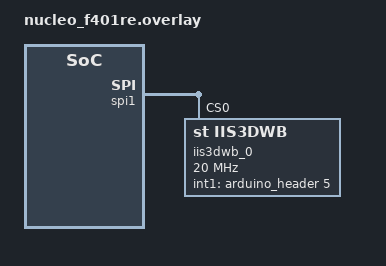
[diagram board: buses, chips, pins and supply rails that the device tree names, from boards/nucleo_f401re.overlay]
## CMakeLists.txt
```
# Copyright (c) 2022 TOKITA Hiroshi <tokita.hiroshi@fujitsu.com>
# SPDX-License-Identifier: Apache-2.0

cmake_minimum_required(VERSION 3.20.0)

find_package(Zephyr REQUIRED HINTS $ENV{ZEPHYR_BASE})
project(accel_polling)

FILE(GLOB app_sources src/*.c)
target_sources(app PRIVATE ${app_sources})
```

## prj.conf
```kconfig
CONFIG_STDOUT_CONSOLE=y
CONFIG_SENSOR=y
CONFIG_SENSOR_ASYNC_API=y
CONFIG_CBPRINTF_FP_SUPPORT=y
```

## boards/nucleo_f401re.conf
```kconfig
# Copyright (c) 2024 STMicroelectronics
# SPDX-License-Identifier: Apache-2.0

#CONFIG_I2C_RTIO=y
#CONFIG_LSM6DSV16X_STREAM=y
#CONFIG_LSM6DSV16X_ENABLE_TEMP=y
CONFIG_SPI_RTIO=y
CONFIG_IIS3DWB_STREAM=y
CONFIG_IIS3DWB_ENABLE_TEMP=y
```

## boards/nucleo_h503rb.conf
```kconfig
# Copyright (c) 2024 STMicroelectronics
# SPDX-License-Identifier: Apache-2.0

CONFIG_LOG=y
CONFIG_SENSOR_LOG_LEVEL_DBG=y

CONFIG_I2C_RTIO=y
#CONFIG_SPI_RTIO=y

CONFIG_LSM6DSVXXX_STREAM=y
CONFIG_LSM6DSVXXX_ENABLE_TEMP=y
```

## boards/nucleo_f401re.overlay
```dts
/*
 * Copyright (c) 2024 STMicroelectronics
 *
 * SPDX-License-Identifier: Apache-2.0
 */
#include <zephyr/dt-bindings/sensor/lsm6dsv16x.h>
#include <zephyr/dt-bindings/sensor/iis3dwb.h>


/*
 * Nucleo F401RE board + shield iks4a1
 *
 * This devicetree overlay file will be automatically picked by the Zephyr
 * build system when building the sample for the nucleo_f401re board.
 */

/ {
	aliases {
		//stream0 = &lsm6dsv16x_6b_x_nucleo_iks4a1;
		stream0 = &iis3dwb_0;
	};
};

&spi1 {
	iis3dwb_0: iis3dwb@0 {
		compatible = "st,iis3dwb";

		reg = <0>;
		spi-max-frequency = <DT_FREQ_M(20)>;

		range = <IIS3DWB_DT_FS_16G>;
		odr = <IIS3DWB_DT_ODR_26k7Hz>;
		filter = <IIS3DWB_DT_LP_ODR_DIV_4>;
		int1-gpios =  <&arduino_header 5 GPIO_ACTIVE_HIGH>; /* A5 (PC0) */
		drdy-pin = <1>;

		fifo-watermark = <128>;
		accel-fifo-batch-rate = <IIS3DWB_DT_XL_BATCHED_AT_26k7Hz>;
		temp-fifo-batch-rate = <IIS3DWB_DT_TEMP_NOT_BATCHED>;
		timestamp-fifo-batch-rate = <IIS3DWB_DT_TS_NOT_BATCHED>;
	};
};
```

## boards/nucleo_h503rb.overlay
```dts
/*
 * Copyright (c) 2024 STMicroelectronics
 *
 * SPDX-License-Identifier: Apache-2.0
 */
#include <zephyr/dt-bindings/sensor/lsm6dsv320x.h>


/*
 * Nucleo F401RE board + shield iks4a1
 *
 * This devicetree overlay file will be automatically picked by the Zephyr
 * build system when building the sample for the nucleo_f401re board.
 */

/ {
	aliases {
		//stream0 = &lsm6dsv320x_spi;
		stream0 = &lsm6dsv320x_iks5a1;
	};
};

&arduino_i2c {
	#if 1
	lsm6dsv320x_iks5a1: lsm6dsv320x@6a {
		compatible = "st,lsm6dsv320x";

		reg = <0x6a>;

		accel-odr = <LSM6DSVXXX_DT_ODR_AT_480Hz>;
		#accel-hg-odr = <LSM6DSV320X_HG_XL_ODR_AT_480Hz>;
		accel-range = <LSM6DSV320X_DT_FS_16G>;
		gyro-odr = <LSM6DSVXXX_DT_ODR_AT_480Hz>;
		gyro-range = <LSM6DSV320X_DT_FS_500DPS>;

		fifo-watermark = <64>;
		accel-fifo-batch-rate = <LSM6DSVXXX_DT_XL_BATCHED_AT_15Hz>;
		gyro-fifo-batch-rate = <LSM6DSVXXX_DT_GY_BATCHED_AT_15Hz>;
		temp-fifo-batch-rate = <LSM6DSVXXX_DT_TEMP_BATCHED_AT_15Hz>;

		sflp-odr = <LSM6DSVXXX_DT_SFLP_ODR_AT_15Hz>;
		sflp-fifo-enable = <LSM6DSVXXX_DT_SFLP_FIFO_GAME_ROTATION_GRAVITY_GBIAS>;

		int1-gpios =  <&arduino_header 11 GPIO_ACTIVE_HIGH>; /* D5 (PB4) */
		drdy-pin = <1>;
		drdy-pulsed;
	};
	#endif
};

&spi1 {
	#if 0
	lsm6dsv320x_spi: lsm6dsv320x@0 {
		compatible = "st,lsm6dsv320x";

		reg = <0>;
		spi-max-frequency = <DT_FREQ_M(10)>;

		accel-odr = <LSM6DSVXXX_DT_ODR_AT_480Hz>;
		accel-range = <LSM6DSV320X_DT_FS_16G>;
		gyro-odr = <LSM6DSVXXX_DT_ODR_AT_480Hz>;
		gyro-range = <LSM6DSV320X_DT_FS_500DPS>;

		fifo-watermark = <64>;
		accel-fifo-batch-rate = <LSM6DSVXXX_DT_XL_BATCHED_AT_15Hz>;
		gyro-fifo-batch-rate = <LSM6DSVXXX_DT_GY_BATCHED_AT_15Hz>;
		temp-fifo-batch-rate = <LSM6DSVXXX_DT_TEMP_BATCHED_AT_15Hz>;

		sflp-odr = <LSM6DSVXXX_DT_SFLP_ODR_AT_15Hz>;
		sflp-fifo-enable = <LSM6DSVXXX_DT_SFLP_FIFO_GAME_ROTATION_GRAVITY_GBIAS>;

		int1-gpios =  <&arduino_header 5 GPIO_ACTIVE_HIGH>; /* A5 (PC0) */
		drdy-pin = <1>;
		drdy-pulsed;
	};
	#endif
};
```

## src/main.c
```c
/*
 * Copyright (c) 2024 STMicroelectronics
 *
 * SPDX-License-Identifier: Apache-2.0
 */

#include <stdio.h>
#include <stdlib.h>

#include <zephyr/device.h>
#include <zephyr/drivers/sensor.h>
#include <zephyr/sys/util_macro.h>
#include <zephyr/kernel.h>
#include <zephyr/rtio/rtio.h>
#include <zephyr/drivers/sensor.h>

#define STREAMDEV_ALIAS(i) DT_ALIAS(_CONCAT(stream, i))
#define STREAMDEV_DEVICE(i, _) \
	IF_ENABLED(DT_NODE_EXISTS(STREAMDEV_ALIAS(i)), (DEVICE_DT_GET(STREAMDEV_ALIAS(i)),))
#define NUM_SENSORS 1

/* support up to 10 sensors */
static const struct device *const sensors[] = { LISTIFY(10, STREAMDEV_DEVICE, ()) };

#define STREAM_IODEV_SYM(id) CONCAT(accel_iodev, id)
#define STREAM_IODEV_PTR(id, _) &STREAM_IODEV_SYM(id)

#define STREAM_TRIGGERS					   \
	{ SENSOR_TRIG_MOTION, SENSOR_STREAM_DATA_NOP }, \
	{ SENSOR_TRIG_FIFO_FULL, SENSOR_STREAM_DATA_NOP }, \
	{ SENSOR_TRIG_FIFO_WATERMARK, SENSOR_STREAM_DATA_INCLUDE }

#define STREAM_DEFINE_IODEV(id, _)    \
	SENSOR_DT_STREAM_IODEV(	      \
		STREAM_IODEV_SYM(id), \
		STREAMDEV_ALIAS(id),  \
		STREAM_TRIGGERS);

LISTIFY(NUM_SENSORS, STREAM_DEFINE_IODEV, (;));

struct rtio_iodev *iodevs[NUM_SENSORS] = { LISTIFY(NUM_SENSORS, STREAM_IODEV_PTR, (,)) };

RTIO_DEFINE_WITH_MEMPOOL(stream_ctx, NUM_SENSORS, NUM_SENSORS,
			 NUM_SENSORS * 20, 256, sizeof(void *));

struct sensor_chan_spec accel_chan = { SENSOR_CHAN_ACCEL_XYZ, 0 };
struct sensor_chan_spec gyro_chan = { SENSOR_CHAN_GYRO_XYZ, 0 };
struct sensor_chan_spec temp_chan = { SENSOR_CHAN_DIE_TEMP, 0 };
struct sensor_chan_spec rot_vector_chan = { SENSOR_CHAN_GAME_ROTATION_VECTOR, 0 };
struct sensor_chan_spec gravity_chan = { SENSOR_CHAN_GRAVITY_VECTOR, 0 };
struct sensor_chan_spec gbias_chan = { SENSOR_CHAN_GBIAS_XYZ, 0 };

static uint8_t accel_buf[128] = { 0 };
static uint8_t gyro_buf[128] = { 0 };
static uint8_t temp_buf[128] = { 0 };
static uint8_t rot_vect_buf[128] = { 0 };
static uint8_t gravity_buf[128] = { 0 };
static uint8_t gbias_buf[128] = { 0 };
static uint16_t wakeup_trig = 0;

static uint32_t tot_frm_cnt = 0;
static uint32_t tot_loop = 0;

static int print_accels_stream(const struct device *dev, struct rtio_iodev *iodev)
{
	int rc = 0;
	const struct sensor_decoder_api *decoder;
	struct rtio_cqe *cqe;
	uint8_t *buf;
	uint32_t buf_len;
	struct rtio_sqe *handles[NUM_SENSORS];
	struct sensor_three_axis_data *accel_data = (struct sensor_three_axis_data *)accel_buf;
	struct sensor_three_axis_data *gyro_data = (struct sensor_three_axis_data *)gyro_buf;
	struct sensor_q31_data *temp_data = (struct sensor_q31_data *)temp_buf;
	struct sensor_game_rotation_vector_data *rot_vect_data = (struct sensor_game_rotation_vector_data *)rot_vect_buf;
	struct sensor_three_axis_data *gravity_data = (struct sensor_three_axis_data *)gravity_buf;
	struct sensor_three_axis_data *gbias_data = (struct sensor_three_axis_data *)gbias_buf;

	/* Start the streams */
	for (int i = 0; i < NUM_SENSORS; i++) {
		printk("sensor_stream\n");
		sensor_stream(iodevs[i], &stream_ctx, NULL, &handles[i]);
	}

	while (1) {
		cqe = rtio_cqe_consume_block(&stream_ctx);

		if (cqe->result != 0) {
			printk("async read failed %d\n", cqe->result);
			return cqe->result;
		}

		rc = rtio_cqe_get_mempool_buffer(&stream_ctx, cqe, &buf, &buf_len);

		if (rc != 0) {
			printk("get mempool buffer failed %d\n", rc);
			rtio_release_buffer(&stream_ctx, buf, buf_len);
			continue;
			//return rc;
		}

		const struct device *sensor = dev;

		rtio_cqe_release(&stream_ctx, cqe);

		rc = sensor_get_decoder(sensor, &decoder);

		if (rc != 0) {
			printk("sensor_get_decoder failed %d\n", rc);
			return rc;
		}

		/* Frame iterator values when data comes from a FIFO */
		uint32_t accel_fit = 0, gyro_fit = 0;
		uint32_t temp_fit = 0;
		uint32_t rot_vect_fit = 0, gravity_fit = 0, gbias_fit = 0;

		/* Number of sensor data frames */
		uint16_t xl_count = 0, gy_count = 0, tp_count = 0;
		uint16_t rot_vect_count = 0, gravity_count = 0, gbias_count = 0, frame_count;

		rc = decoder->get_frame_count(buf, accel_chan, &xl_count);
		rc += decoder->get_frame_count(buf, gyro_chan, &gy_count);
		rc += decoder->get_frame_count(buf, temp_chan, &tp_count);
		rc += decoder->get_frame_count(buf, rot_vector_chan, &rot_vect_count);
		rc += decoder->get_frame_count(buf, gravity_chan, &gravity_count);
		rc += decoder->get_frame_count(buf, gbias_chan, &gbias_count);

		if (rc != 0) {
			printk("sensor_get_frame failed %d\n", rc);
			return rc;
		}

		frame_count = xl_count + gy_count + tp_count;
		frame_count += rot_vect_count + gravity_count + gbias_count;
		printk("frame_count is %d\n", frame_count);

		/* If a tap has occurred lets print it out */
		#if 0
		if (decoder->has_trigger(buf, SENSOR_TRIG_MOTION)) {
			//printk("Motion trigger: wakeup occurred %s\n", dev->name);
			wakeup_trig++;
		}
		#endif

		/* Decode all available sensor FIFO frames */

		int i = 0;

		while (i < frame_count) {
			int8_t c = 0;

			/* decode and print Accelerometer FIFO frames */
			c = decoder->decode(buf, accel_chan, &accel_fit, 8, accel_data);

			for (int k = 0; k < c; k++) {
				printk("XL data for %s %lluns (%" PRIq(6) ", %" PRIq(6)
				      ", %" PRIq(6) ")\n", dev->name,
				       PRIsensor_three_axis_data_arg(*accel_data, k));
			}
			i += c;

			/* decode and print Temperature FIFO frames */
			c = decoder->decode(buf, temp_chan, &temp_fit, 4, temp_data);

			for (int k = 0; k < c; k++) {
				printk("TP data for %s %lluns %s%d.%d °C\n", dev->name,
				       PRIsensor_q31_data_arg(*temp_data, k));
			}
			i += c;

			/* decode and print Gyroscope FIFO frames */
			c = decoder->decode(buf, gyro_chan, &gyro_fit, 8, gyro_data);

			for (int k = 0; k < c; k++) {
				printk("GY data for %s %lluns (%" PRIq(6) ", %" PRIq(6)
				       ", %" PRIq(6) ")\n", dev->name,
				       PRIsensor_three_axis_data_arg(*gyro_data, k));
			}
			i += c;

			/* decode and print Game Rotation Vector FIFO frames */
			c = decoder->decode(buf, rot_vector_chan, &rot_vect_fit, 8, rot_vect_data);

			for (int k = 0; k < c; k++) {
				printk("ROT data for %s %lluns (%" PRIq(6) ", %" PRIq(6)
				       ", %" PRIq(6) ", %" PRIq(6) ") \n", dev->name,
				       PRIsensor_game_rotation_vector_data_arg(*rot_vect_data, k));
			}
			i += c;

			/* decode and print Gravity Vector FIFO frames */
			c = decoder->decode(buf, gravity_chan, &gravity_fit, 8, gravity_data);

			for (int k = 0; k < c; k++) {
				printk("GV data for %s %lluns (%" PRIq(6) ", %" PRIq(6)
				       ", %" PRIq(6) ") \n", dev->name,
				       PRIsensor_three_axis_data_arg(*gravity_data, k));
			}
			i += c;

			/* decode and print Gyroscope GBIAS FIFO frames */
			c = decoder->decode(buf, gbias_chan, &gbias_fit, 8, gbias_data);

			for (int k = 0; k < c; k++) {
				printk("GY GBIAS data for %s %lluns (%" PRIq(6) ", %" PRIq(6)
				       ", %" PRIq(6) ") \n", dev->name,
				       PRIsensor_three_axis_data_arg(*gbias_data, k));
			}
			i += c;
		}

		rtio_release_buffer(&stream_ctx, buf, buf_len);
	}

	return rc;
}

static int check_sensor_is_off(const struct device *dev)
{
	int ret;
	struct sensor_value odr;

	ret = sensor_attr_get(dev, SENSOR_CHAN_ACCEL_XYZ, SENSOR_ATTR_SAMPLING_FREQUENCY, &odr);

	/* Check if accel is off */
	if (ret != 0 || (odr.val1 == 0 && odr.val2 == 0)) {
		printk("%s WRN : accelerometer device is off\n", dev->name);
	}

	ret = sensor_attr_get(dev, SENSOR_CHAN_GYRO_XYZ, SENSOR_ATTR_SAMPLING_FREQUENCY, &odr);

	/* Check if gyro is off */
	if (ret != 0 || (odr.val1 == 0 && odr.val2 == 0)) {
		printk("%s WRN : gyroscope device is off\n", dev->name);
	}

	return 0;
}

int main(void)
{
	int ret;

	for (size_t i = 0; i < ARRAY_SIZE(sensors); i++) {
		if (!device_is_ready(sensors[i])) {
			printk("sensor: device %s not ready.\n", sensors[i]->name);
			return 0;
		}
		check_sensor_is_off(sensors[i]);
	}

	while (1) {
		for (size_t i = 0; i < ARRAY_SIZE(sensors); i++) {
			ret = print_accels_stream(sensors[i], iodevs[i]);

			if (ret < 0) {
				return 0;
			}
		}
		k_msleep(1000);
	}
	return 0;
}
```
